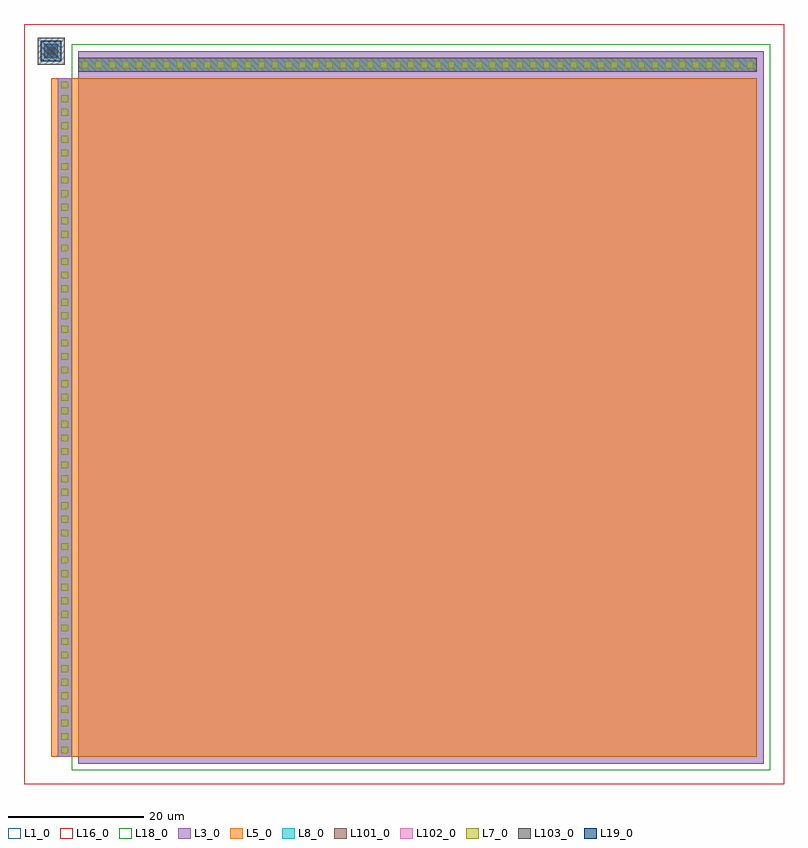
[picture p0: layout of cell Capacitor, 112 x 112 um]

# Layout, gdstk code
import gdstk
lib = gdstk.Library(unit=1e-6, precision=1e-09)
def R(c, l, rs):  # rectangles x0, y0, x1, y1
    for r in rs: c.add(gdstk.rectangle(r[:2], r[2:], *l))
L1_0 = (1, 0)
L3_0 = (3, 0)
L5_0 = (5, 0)
L7_0 = (7, 0)
L8_0 = (8, 0)
L16_0 = (16, 0)
L18_0 = (18, 0)
L19_0 = (19, 0)
L101_0 = (101, 0)
L102_0 = (102, 0)
L103_0 = (103, 0)

pcont = lib.new_cell('pcont')
R(pcont, L5_0, [(-1,-1,1,1)])
R(pcont, L7_0, [(-0.5,-0.5,0.5,0.5)])
R(pcont, L8_0, [(-1,-1,1,1)])
R(pcont, L102_0, [(-1,-1,1,1)])
pcont.add(gdstk.Label('pcont', (0,0), layer=13, texttype=0))

dcont = lib.new_cell('dcont')
R(dcont, L3_0, [(-0.5,-0.5,0.5,0.5)])
R(dcont, L7_0, [(-0.5,-0.5,0.5,0.5)])
R(dcont, L8_0, [(-1,-1,1,1)])
R(dcont, L101_0, [(-1,-1,1,1)])
dcont.add(gdstk.Label('dcont', (0,0), layer=13, texttype=0))

nsubcont = lib.new_cell('nsubcont')
R(nsubcont, L1_0, [(-2,-2,2,2)])
R(nsubcont, L19_0, [(-1.5,-1.5,1.5,1.5)])
R(nsubcont, L103_0, [(-2,-2,2,2)])
nsubcont.add(gdstk.Reference(dcont, (0,0)))
nsubcont.add(gdstk.Label('NScont', (0,0), layer=13, texttype=0))

capacitor = lib.new_cell('Capacitor')
R(capacitor, L1_0, [(-4,-4,108,108)])
R(capacitor, L3_0, [(4,-1,105,104)])
R(capacitor, L5_0, [(0,0,104,100)])
R(capacitor, L16_0, [(-4,-4,108,108)])
R(capacitor, L18_0, [(3,-2,106,105)])
capacitor.add(gdstk.Reference(pcont, (2,53)))
capacitor.add(gdstk.Reference(dcont, (51,102)))
capacitor.add(gdstk.Reference(dcont, (53,102)))
capacitor.add(gdstk.Reference(dcont, (55,102)))
capacitor.add(gdstk.Reference(dcont, (57,102)))
capacitor.add(gdstk.Reference(dcont, (59,102)))
capacitor.add(gdstk.Reference(dcont, (61,102)))
capacitor.add(gdstk.Reference(dcont, (63,102)))
capacitor.add(gdstk.Reference(dcont, (65,102)))
capacitor.add(gdstk.Reference(dcont, (67,102)))
capacitor.add(gdstk.Reference(dcont, (69,102)))
capacitor.add(gdstk.Reference(dcont, (71,102)))
capacitor.add(gdstk.Reference(dcont, (73,102)))
capacitor.add(gdstk.Reference(dcont, (75,102)))
capacitor.add(gdstk.Reference(dcont, (77,102)))
capacitor.add(gdstk.Reference(dcont, (79,102)))
capacitor.add(gdstk.Reference(dcont, (81,102)))
capacitor.add(gdstk.Reference(dcont, (83,102)))
capacitor.add(gdstk.Reference(dcont, (85,102)))
capacitor.add(gdstk.Reference(dcont, (87,102)))
capacitor.add(gdstk.Reference(dcont, (89,102)))
capacitor.add(gdstk.Reference(dcont, (91,102)))
capacitor.add(gdstk.Reference(dcont, (93,102)))
capacitor.add(gdstk.Reference(dcont, (95,102)))
capacitor.add(gdstk.Reference(dcont, (97,102)))
capacitor.add(gdstk.Reference(dcont, (99,102)))
capacitor.add(gdstk.Reference(dcont, (101,102)))
capacitor.add(gdstk.Reference(dcont, (103,102)))
capacitor.add(gdstk.Reference(dcont, (13,102)))
capacitor.add(gdstk.Reference(dcont, (15,102)))
capacitor.add(gdstk.Reference(dcont, (17,102)))
capacitor.add(gdstk.Reference(dcont, (19,102)))
capacitor.add(gdstk.Reference(dcont, (21,102)))
capacitor.add(gdstk.Reference(dcont, (23,102)))
capacitor.add(gdstk.Reference(dcont, (25,102)))
capacitor.add(gdstk.Reference(dcont, (27,102)))
capacitor.add(gdstk.Reference(dcont, (29,102)))
capacitor.add(gdstk.Reference(dcont, (31,102)))
capacitor.add(gdstk.Reference(dcont, (33,102)))
capacitor.add(gdstk.Reference(dcont, (35,102)))
capacitor.add(gdstk.Reference(dcont, (37,102)))
capacitor.add(gdstk.Reference(dcont, (39,102)))
capacitor.add(gdstk.Reference(dcont, (41,102)))
capacitor.add(gdstk.Reference(dcont, (43,102)))
capacitor.add(gdstk.Reference(dcont, (45,102)))
capacitor.add(gdstk.Reference(dcont, (47,102)))
capacitor.add(gdstk.Reference(dcont, (49,102)))
capacitor.add(gdstk.Reference(pcont, (2,55)))
capacitor.add(gdstk.Reference(pcont, (2,57)))
capacitor.add(gdstk.Reference(pcont, (2,59)))
capacitor.add(gdstk.Reference(pcont, (2,61)))
capacitor.add(gdstk.Reference(pcont, (2,63)))
capacitor.add(gdstk.Reference(pcont, (2,65)))
capacitor.add(gdstk.Reference(pcont, (2,67)))
capacitor.add(gdstk.Reference(pcont, (2,69)))
capacitor.add(gdstk.Reference(pcont, (2,71)))
capacitor.add(gdstk.Reference(pcont, (2,73)))
capacitor.add(gdstk.Reference(pcont, (2,75)))
capacitor.add(gdstk.Reference(pcont, (2,77)))
capacitor.add(gdstk.Reference(pcont, (2,79)))
capacitor.add(gdstk.Reference(pcont, (2,81)))
capacitor.add(gdstk.Reference(pcont, (2,83)))
capacitor.add(gdstk.Reference(pcont, (2,85)))
capacitor.add(gdstk.Reference(pcont, (2,87)))
capacitor.add(gdstk.Reference(pcont, (2,89)))
capacitor.add(gdstk.Reference(pcont, (2,91)))
capacitor.add(gdstk.Reference(pcont, (2,93)))
capacitor.add(gdstk.Reference(pcont, (2,95)))
capacitor.add(gdstk.Reference(pcont, (2,97)))
capacitor.add(gdstk.Reference(pcont, (2,99)))
capacitor.add(gdstk.Reference(dcont, (5,102)))
capacitor.add(gdstk.Reference(dcont, (7,102)))
capacitor.add(gdstk.Reference(dcont, (9,102)))
capacitor.add(gdstk.Reference(dcont, (11,102)))
capacitor.add(gdstk.Reference(nsubcont, (0,104)))
capacitor.add(gdstk.Reference(pcont, (2,47)))
capacitor.add(gdstk.Reference(pcont, (2,49)))
capacitor.add(gdstk.Reference(pcont, (2,51)))
capacitor.add(gdstk.Reference(pcont, (2,1)))
capacitor.add(gdstk.Reference(pcont, (2,3)))
capacitor.add(gdstk.Reference(pcont, (2,5)))
capacitor.add(gdstk.Reference(pcont, (2,7)))
capacitor.add(gdstk.Reference(pcont, (2,9)))
capacitor.add(gdstk.Reference(pcont, (2,11)))
capacitor.add(gdstk.Reference(pcont, (2,13)))
capacitor.add(gdstk.Reference(pcont, (2,15)))
capacitor.add(gdstk.Reference(pcont, (2,17)))
capacitor.add(gdstk.Reference(pcont, (2,19)))
capacitor.add(gdstk.Reference(pcont, (2,21)))
capacitor.add(gdstk.Reference(pcont, (2,23)))
capacitor.add(gdstk.Reference(pcont, (2,25)))
capacitor.add(gdstk.Reference(pcont, (2,27)))
capacitor.add(gdstk.Reference(pcont, (2,29)))
capacitor.add(gdstk.Reference(pcont, (2,31)))
capacitor.add(gdstk.Reference(pcont, (2,33)))
capacitor.add(gdstk.Reference(pcont, (2,35)))
capacitor.add(gdstk.Reference(pcont, (2,37)))
capacitor.add(gdstk.Reference(pcont, (2,39)))
capacitor.add(gdstk.Reference(pcont, (2,41)))
capacitor.add(gdstk.Reference(pcont, (2,43)))
capacitor.add(gdstk.Reference(pcont, (2,45)))

lib.write_gds('Capacitor.gds')
